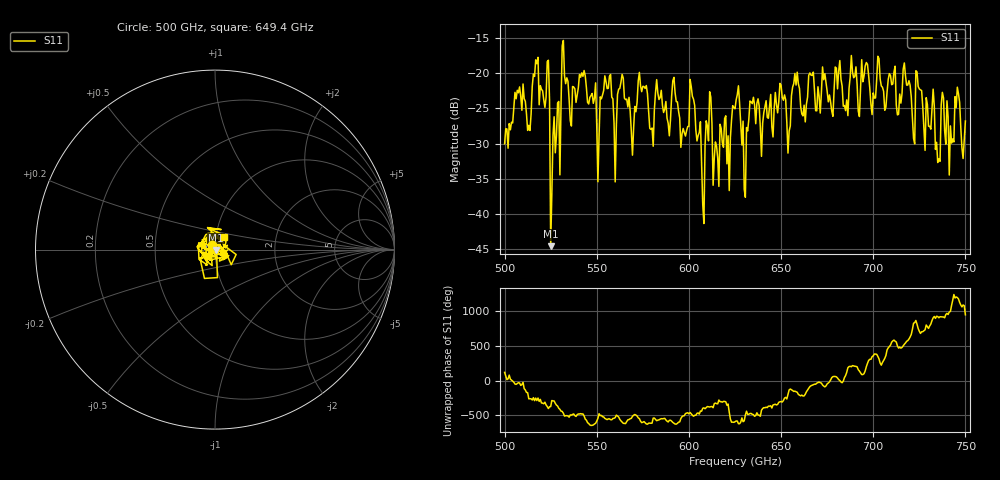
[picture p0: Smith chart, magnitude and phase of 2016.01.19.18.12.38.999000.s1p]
!Created with skrf (http://scikit-rf.org).
# GHz S RI R 50.0
!freq ReS11 ImS11
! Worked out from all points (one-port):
!   401 points, 500 GHz to 750 GHz, reference 50 ohm
!   lowest |S11| = -44.6 dB at 525 GHz (marker M1), VSWR 1.01, Z = 50.6 - j0.151 ohm
!   |S11| at or under -10 dB: start of sweep to end of sweep
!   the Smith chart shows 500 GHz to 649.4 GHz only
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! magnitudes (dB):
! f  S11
! 500 GHz  -30.0
! 506.9 GHz  -22.4
! 513.1 GHz  -27.4
! 516.9 GHz  -18.1
! 523.1 GHz  -18.4
! 525 GHz  -44.6
! 531.2 GHz  -16.1
! 542.5 GHz  -20.4
! 551.2 GHz  -28.9
! 562.5 GHz  -22.2
! 569.4 GHz  -31.6
! 573.8 GHz  -21.8
! 579.4 GHz  -28.0
! 593.8 GHz  -24.1
! 596.9 GHz  -27.9
! 601.9 GHz  -23.3
! 607.5 GHz  -38.6
! 610.6 GHz  -29.6
! 615 GHz  -30.4
! 625 GHz  -25.1
! 630 GHz  -36.5
! 634.4 GHz  -24.3
! 656.2 GHz  -22.0
! 687.5 GHz  -20.5
! 718.8 GHz  -21.7
! 735 GHz  -32.7
! 745.6 GHz  -22.0
! 750 GHz  -26.8
